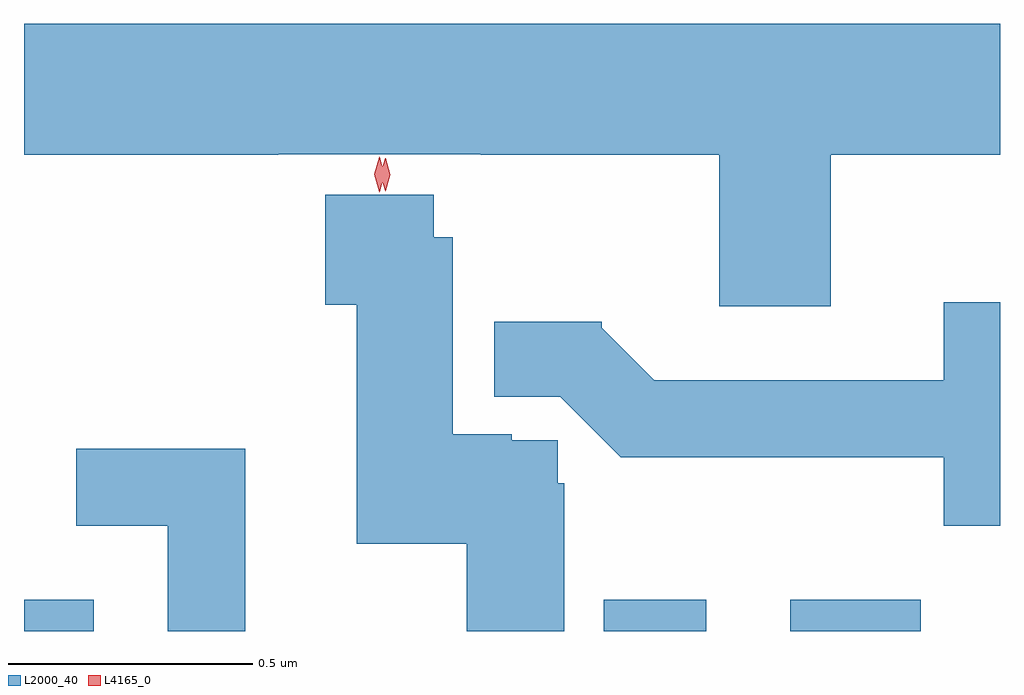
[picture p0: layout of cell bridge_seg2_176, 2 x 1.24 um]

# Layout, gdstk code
import gdstk
lib = gdstk.Library(unit=1e-6, precision=1e-09)
def R(c, l, rs):  # rectangles x0, y0, x1, y1
    for r in rs: c.add(gdstk.rectangle(r[:2], r[2:], *l))
def P(c, l, *ps):  # polygons
    for p in ps: c.add(gdstk.Polygon(p, *l))
L2000_40 = (2000, 40)
L4165_0 = (4165, 0)

bridge_seg2_176 = lib.new_cell('bridge_seg2_176')
R(bridge_seg2_176, L2000_40, [(816.086,1073.98,816.229,1074.044), (817.274,1073.98,817.484,1074.044), (817.656,1073.98,817.924,1074.044)])
P(bridge_seg2_176, L2000_40, [(817.739,1074.956),(818.086,1074.956),(818.086,1075.224),(816.086,1075.224),(816.086,1074.956),(816.607,1074.956),(816.607,1074.957),(817.022,1074.957),(817.022,1074.956),(817.511,1074.956),(817.511,1074.646),(817.739,1074.646)],
  [(817.193,1074.283),(817.18,1074.283),(817.18,1074.371),(817.085,1074.371),(817.085,1074.383),(816.965,1074.383),(816.965,1074.787),(816.926,1074.787),(816.926,1074.874),(816.703,1074.874),(816.703,1074.649),(816.768,1074.649),(816.768,1074.159),(816.993,1074.159),(816.993,1073.98),(817.193,1073.98)],
  [(818.086,1074.654),(817.971,1074.654),(817.971,1074.494),(817.377,1074.494),(817.27,1074.601),(817.27,1074.614),(817.05,1074.614),(817.05,1074.46),(817.185,1074.46),(817.309,1074.336),(817.971,1074.336),(817.971,1074.196),(818.086,1074.196)],
  [(816.539,1074.354),(816.193,1074.354),(816.193,1074.196),(816.381,1074.196),(816.381,1073.98),(816.539,1073.98)])
P(bridge_seg2_176, L4165_0, [(816.814,1074.879),(816.814,1074.88),(816.804,1074.916),(816.814,1074.951),(816.814,1074.952),(816.815,1074.951),(816.824,1074.916),(816.815,1074.88)],
  [(816.826,1074.881),(816.826,1074.882),(816.816,1074.915),(816.826,1074.949),(816.826,1074.949),(816.827,1074.949),(816.836,1074.915),(816.827,1074.882)])

lib.write_gds('bridge_seg2_176.gds')
